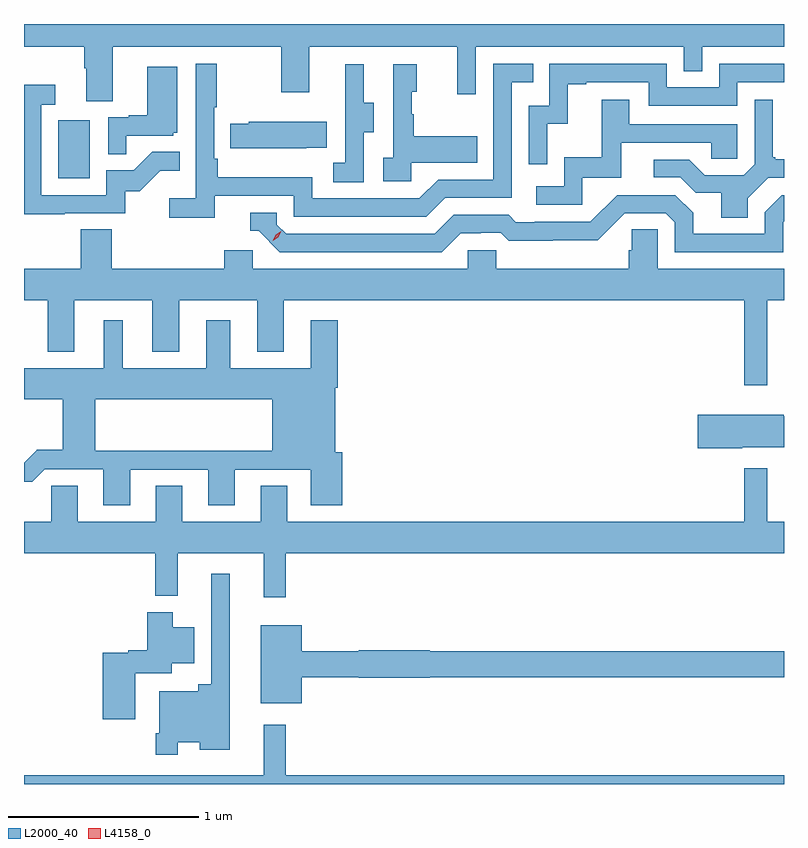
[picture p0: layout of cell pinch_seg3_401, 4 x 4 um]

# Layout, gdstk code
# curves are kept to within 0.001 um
import gdstk
lib = gdstk.Library(unit=1e-6, precision=1e-09)
def R(c, l, rs):  # rectangles x0, y0, x1, y1
    for r in rs: c.add(gdstk.rectangle(r[:2], r[2:], *l))
def P(c, l, *ps):  # polygons
    for p in ps: c.add(gdstk.Polygon(p, *l))
L2000_40 = (2000, 40)
L4158_0 = (4158, 0)

pinch_seg3_401 = lib.new_cell('pinch_seg3_401')
R(pinch_seg3_401, L2000_40, [(948.536,690.9,948.7,691.207)])
P(pinch_seg3_401, L2000_40, [(948.823,691.592),(949.708,691.592),(949.708,691.353),(949.855,691.353),(949.855,691.592),(950.636,691.592),(950.636,691.344),(950.733,691.344),(950.733,691.592),(951.828,691.592),(951.828,691.465),(951.924,691.465),(951.924,691.592),(952.355,691.592),(952.355,691.713),(948.355,691.713),(948.355,691.592),(948.671,691.592),(948.671,691.48),(948.683,691.48),(948.683,691.306),(948.823,691.306)],
  [(949.358,690.81),(949.776,690.81),(949.776,690.699),(950.473,690.699),(950.572,690.798),(950.922,690.798),(950.922,691.407),(951.035,691.407),(951.035,691.503),(950.826,691.503),(950.826,690.894),(950.535,690.894),(950.436,690.795),(949.872,690.795),(949.872,690.907),(949.376,690.907),(949.376,691.003),(949.356,691.003),(949.356,691.276),(949.369,691.276),(949.369,691.504),(949.26,691.504),(949.26,690.796),(949.119,690.796),(949.119,690.694),(949.358,690.694)],
  [(951.108,691.187),(951.218,691.187),(951.218,691.395),(951.313,691.395),(951.313,691.407),(951.642,691.407),(951.642,691.284),(952.11,691.284),(952.11,691.407),(952.355,691.407),(952.355,691.503),(952.014,691.503),(952.014,691.38),(951.738,691.38),(951.738,691.503),(951.12,691.503),(951.12,691.284),(951.012,691.284),(951.012,690.975),(951.108,690.975)],
  [(950.142,691.144),(950.197,691.144),(950.197,691.299),(950.143,691.299),(950.143,691.501),(950.045,691.501),(950.045,691.287),(950.046,691.287),(950.046,690.983),(949.983,690.983),(949.983,690.88),(950.142,690.88)],
  [(950.394,690.983),(950.741,690.983),(950.741,691.123),(950.407,691.123),(950.407,691.238),(950.397,691.238),(950.397,691.356),(950.422,691.356),(950.422,691.501),(950.298,691.501),(950.298,691.01),(950.247,691.01),(950.247,690.885),(950.394,690.885)],
  [(948.893,691.125),(949.14,691.125),(949.14,691.14),(949.162,691.14),(949.162,691.489),(949.004,691.489),(949.004,691.234),(948.905,691.234),(948.905,691.221),(948.798,691.221),(948.798,691.027),(948.893,691.027)],
  [(948.569,690.717),(948.888,690.717),(948.888,690.834),(948.964,690.834),(949.071,690.941),(949.175,690.941),(949.175,691.04),(949.031,691.04),(948.933,690.942),(948.789,690.942),(948.789,690.813),(948.447,690.813),(948.447,691.287),(948.52,691.287),(948.52,691.393),(948.355,691.393),(948.355,690.712),(948.569,690.712)],
  [(952.165,690.796),(952.272,690.903),(952.355,690.903),(952.355,691),(952.309,691),(952.309,691.012),(952.297,691.012),(952.297,691.315),(952.2,691.315),(952.2,690.975),(952.143,690.918),(951.937,690.918),(951.856,690.999),(951.669,690.999),(951.669,690.906),(951.81,690.906),(951.89,690.826),(952.025,690.826),(952.025,690.694),(952.165,690.694)],
  [(951.294,690.903),(951.499,690.903),(951.499,691.089),(951.973,691.089),(951.973,691.005),(952.11,691.005),(952.11,691.185),(951.541,691.185),(951.541,691.315),(951.397,691.315),(951.397,691.012),(951.198,691.012),(951.198,690.858),(951.051,690.858),(951.051,690.762),(951.294,690.762)],
  [(949.841,691.061),(949.949,691.061),(949.949,691.198),(949.539,691.198),(949.539,691.188),(949.441,691.188),(949.441,691.058),(949.841,691.058)],
  [(950.653,690.612),(950.76,690.612),(950.76,690.615),(950.863,690.615),(950.905,690.573),(951.138,690.573),(951.138,690.575),(951.374,690.575),(951.516,690.717),(951.732,690.717),(951.78,690.669),(951.78,690.513),(952.35,690.513),(952.35,690.669),(952.355,690.674),(952.355,690.813),(952.344,690.813),(952.254,690.723),(952.254,690.609),(951.877,690.609),(951.877,690.719),(951.783,690.813),(951.477,690.813),(951.336,690.672),(951.043,690.672),(951.043,690.669),(950.944,690.669),(950.905,690.708),(950.616,690.708),(950.517,690.609),(949.734,690.609),(949.686,690.657),(949.686,690.72),(949.547,690.72),(949.547,690.624),(949.59,690.624),(949.701,690.513),(950.554,690.513)],
  [(952.267,690.26),(952.355,690.26),(952.355,690.424),(951.69,690.424),(951.69,690.632),(951.553,690.632),(951.553,690.522),(951.539,690.522),(951.539,690.424),(950.841,690.424),(950.841,690.522),(950.691,690.522),(950.691,690.424),(949.56,690.424),(949.56,690.522),(949.409,690.522),(949.409,690.424),(948.818,690.424),(948.818,690.632),(948.653,690.632),(948.653,690.424),(948.355,690.424),(948.355,690.26),(948.479,690.26),(948.479,689.987),(948.619,689.987),(948.619,690.26),(949.031,690.26),(949.031,689.987),(949.171,689.987),(949.171,690.26),(949.583,690.26),(949.583,689.987),(949.723,689.987),(949.723,690.26),(952.146,690.26),(952.146,689.811),(952.267,689.811)],
  [(948.355,689.303),(948.398,689.303),(948.465,689.37),(948.773,689.37),(948.773,689.181),(948.913,689.181),(948.913,689.367),(949.325,689.367),(949.325,689.181),(949.465,689.181),(949.465,689.367),(949.865,689.367),(949.865,689.181),(950.03,689.181),(950.03,689.46),(949.993,689.46),(949.993,689.798),(950.006,689.798),(950.006,690.154),(949.865,690.154),(949.865,689.902),(949.441,689.902),(949.441,690.154),(949.313,690.154),(949.313,689.902),(948.874,689.902),(948.874,690.154),(948.776,690.154),(948.776,689.902),(948.355,689.902),(948.355,689.738),(948.56,689.738),(948.56,689.471),(948.422,689.471),(948.419,689.468),(948.731,689.468),(948.731,689.738),(949.661,689.738),(949.661,689.468),(948.419,689.468),(948.355,689.404)],
  [(952.134,689.486),(952.355,689.486),(952.355,689.649),(952.353,689.649),(952.353,689.657),(951.9,689.657),(951.9,689.479),(952.134,689.479)],
  [(949.733,688.928),(952.355,688.928),(952.355,689.092),(952.267,689.092),(952.267,689.374),(952.146,689.374),(952.146,689.092),(949.741,689.092),(949.741,689.282),(949.601,689.282),(949.601,689.092),(949.189,689.092),(949.189,689.282),(949.049,689.282),(949.049,689.092),(948.637,689.092),(948.637,689.282),(948.498,689.282),(948.498,689.092),(948.355,689.092),(948.355,688.928),(949.045,688.928),(949.045,688.703),(949.163,688.703),(949.163,688.928),(949.616,688.928),(949.616,688.695),(949.733,688.695)],
  [(949.164,687.932),(949.28,687.932),(949.28,687.893),(949.438,687.893),(949.438,688.819),(949.341,688.819),(949.341,688.237),(949.273,688.237),(949.273,688.201),(949.068,688.201),(949.068,687.979),(949.048,687.979),(949.048,687.867),(949.164,687.867)],
  [(948.94,688.295),(949.132,688.295),(949.132,688.349),(949.252,688.349),(949.252,688.537),(949.138,688.537),(949.138,688.618),(949.004,688.618),(949.004,688.418),(948.903,688.418),(948.903,688.405),(948.77,688.405),(948.77,688.053),(948.94,688.053)],
  [(949.816,688.276),(950.118,688.276),(950.118,688.271),(950.49,688.271),(950.49,688.276),(952.355,688.276),(952.355,688.412),(950.49,688.412),(950.49,688.418),(950.118,688.418),(950.118,688.412),(949.816,688.412),(949.816,688.549),(949.601,688.549),(949.601,688.139),(949.816,688.139)],
  [(952.355,687.76),(949.733,687.76),(949.733,688.024),(949.616,688.024),(949.616,687.76),(948.355,687.76),(948.355,687.713),(952.355,687.713)])
P(pinch_seg3_401, L4158_0, [(949.663,690.571),(949.663,690.571),(949.679,690.604),(949.71,690.623),(949.71,690.623),(949.71,690.622),(949.694,690.59),(949.663,690.571)])

lib.write_gds('pinch_seg3_401.gds')
